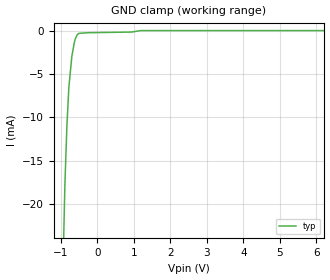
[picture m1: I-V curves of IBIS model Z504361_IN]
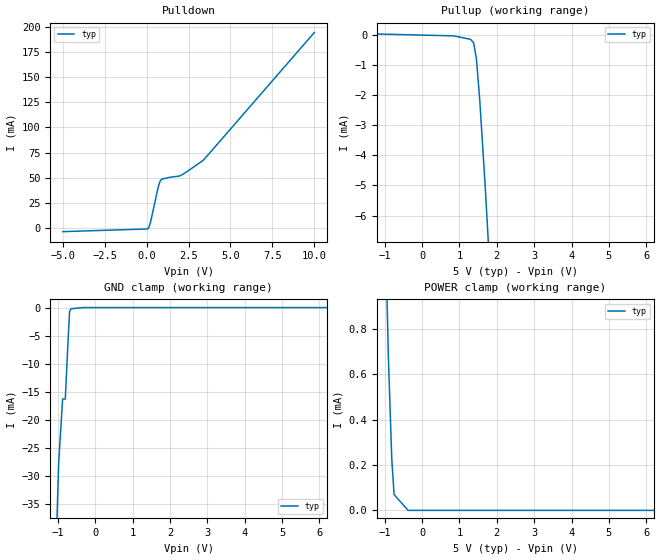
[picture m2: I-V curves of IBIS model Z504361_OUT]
| YOU ARE ONLY AUTHORIZED TO USE THIS SOFTWARE
| ACCORDING TO LICENSOR'S LICENSE RESTRICTIONS.
[IBIS Ver] 3.1
[File Name] sn54ls08j.ibs
[File Rev] 2.0
[Source] Measured and created by ICX Technology
[Date] Friday 7/14/00 9:08:13 AM
[Copyright]
| (C) COPYRIGHT 1993-2000
| MENTOR GRAPHICS CORPORATION
| ICX STANDARD LIBRARY, ICX PROJECT MODELING,
| ICX CUSTOM MODELING, ICX VENDOR MODEL
| ALL RIGHTS RESERVED.
| THE FOLLOWING ARE TRADEMARKS OR SERVICE MARKS OF
| MENTOR GRAPHICS CORPORATION:ICX (R), ICX STANDARD
| LIBRARY(R), ICX PROJECT MODELING(R), ICX CUSTOM
| MODELING(R), qualityIBIS(TM), MODELVIEWER(TM),
| AND MODELEDITOR(TM)
| ALL COPIES OF SOFTWARE, INCLUDING BUT NOT LIMITED TO
| ANY MODIFICATIONS, ENHANCEMENTS OR DERIVATIVE WORKS,
| MUST CONTAIN ALL MENTOR GRAPHICS CORPORATION'S
| NOTICES AND LEGENDS, INCLUDING THOSE EMBEDDED IN
| SOFTWARE AND THOSE AFFIXED TO SOFTWARE MEDIUM
| AND CONTAINER, AS RECEIVED FROM MENTOR GRAPHICS
| CORPORATION.
|  ZAP Model Builder 2.7
[Component] SN54LS08J
[Manufacturer] OnSemiconductor
[Package]
| variable   typ   min   max
R_pkg  .21ohms NA NA
L_pkg  4.543nH NA NA
C_pkg  1.8pF NA NA
[Pin] signal_name  model_name  R_pin  L_pin C_pin
1 A Z504361_IN .22 6.757n 2.434p
2 B Z504361_IN .212 4.757n 1.941p
3 Y Z504361_OUT .204 3.257n 1.448p
4 A Z504361_IN .196 2.257n .955p
5 B Z504361_IN .204 3.257n 1.448p
6 Y Z504361_OUT .212 4.757n 1.941p
7 GND GND .22 6.757n 2.434p
8 Y Z504361_OUT .22 6.757n 2.434p
9 A Z504361_IN .212 4.757n 1.941p
10 B Z504361_IN .204 3.257n 1.448p
11 Y Z504361_OUT .196 2.257n .955p
12 A Z504361_IN .204 3.257n 1.448p
13 B Z504361_IN .212 4.757n 1.941p
14 VCC POWER .22 6.757n 2.434p
| Models and submodels in the file (2): Z504361_IN (Input), Z504361_OUT (Output)
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| (C) COPYRIGHT 1993-2000
| MENTOR GRAPHICS CORPORATION
| ICX STANDARD LIBRARY, ICX PROJECT MODELING,
| ICX CUSTOM MODELING, ICX VENDOR MODEL
| ALL RIGHTS RESERVED.
| THE FOLLOWING ARE TRADEMARKS OR SERVICE MARKS OF
| MENTOR GRAPHICS CORPORATION:ICX (R), ICX STANDARD
| LIBRARY(R), ICX PROJECT MODELING(R), ICX CUSTOM
| MODELING(R), qualityIBIS(TM), MODELVIEWER(TM),
| AND MODELEDITOR(TM)
| ALL COPIES OF SOFTWARE, INCLUDING BUT NOT LIMITED TO
| ANY MODIFICATIONS, ENHANCEMENTS OR DERIVATIVE WORKS,
| MUST CONTAIN ALL MENTOR GRAPHICS CORPORATION'S
| NOTICES AND LEGENDS, INCLUDING THOSE EMBEDDED IN
| SOFTWARE AND THOSE AFFIXED TO SOFTWARE MEDIUM
| AND CONTAINER, AS RECEIVED FROM MENTOR GRAPHICS
| CORPORATION.
| Model Application Version 1.89 2/18/99.
[Model] Z504361_IN
Model_type Input
Vinl = 800.0mV
Vinh = 2.000V
C_comp 4.000pF NA NA
| variable typ   min   max
[Voltage Range] 5.000V NA NA
[GND Clamp Reference] 0.000V NA NA
[POWER Clamp Reference] 5.000V NA NA
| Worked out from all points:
|   GND clamp passes 1 mA (typ) near -0.61 V on its own axis
[GND Clamp]
-5V       -773.6mA   NA         NA
-888.4mV  -17.7mA    NA         NA
-835.2mV  -11.12mA   NA         NA
-781.2mV  -6.602mA   NA         NA
-698.5mV  -2.969mA   NA         NA
-632mV    -1.417mA   NA         NA
-600.4mV  -920.1uA   NA         NA
-546.5mV  -455.4uA   NA         NA
-502.9mV  -322.8uA   NA         NA
946.1mV   -174.5uA   NA         NA
1.187V    -4.766uA   NA         NA
10V       -4.766uA   NA         NA
[POWER Clamp]
-5V       0A         NA         NA
10V       0A         NA         NA
| (C) COPYRIGHT 1993-2000
| MENTOR GRAPHICS CORPORATION
| ICX STANDARD LIBRARY, ICX PROJECT MODELING,
| ICX CUSTOM MODELING, ICX VENDOR MODEL
| ALL RIGHTS RESERVED.
| THE FOLLOWING ARE TRADEMARKS OR SERVICE MARKS OF
| MENTOR GRAPHICS CORPORATION:ICX (R), ICX STANDARD
| LIBRARY(R), ICX PROJECT MODELING(R), ICX CUSTOM
| MODELING(R), qualityIBIS(TM), MODELVIEWER(TM),
| AND MODELEDITOR(TM)
| ALL COPIES OF SOFTWARE, INCLUDING BUT NOT LIMITED TO
| ANY MODIFICATIONS, ENHANCEMENTS OR DERIVATIVE WORKS,
| MUST CONTAIN ALL MENTOR GRAPHICS CORPORATION'S
| NOTICES AND LEGENDS, INCLUDING THOSE EMBEDDED IN
| SOFTWARE AND THOSE AFFIXED TO SOFTWARE MEDIUM
| AND CONTAINER, AS RECEIVED FROM MENTOR GRAPHICS
| CORPORATION.
| Model Application Version 1.89 2/18/99.
[Model] Z504361_OUT
Model_type Output
Vref=5.000V
Rref=2.000kohms
Cref=15.00pF
Vmeas=1.300V
C_comp 8.000pF NA NA
| variable typ   min   max
[Voltage Range] 5.000V NA NA
[POWER Clamp Reference] 5.000V NA NA
[Pullup Reference] 5.000V NA NA
[Pulldown Reference] 0.000V NA NA
[GND Clamp Reference] 0.000V NA NA
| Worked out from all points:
|   slope of the pulldown table from 0 to 0.75 V, typ, clamps not added: 16.7 ohm
|   slope of the pullup table from 0 to 0.75 V, typ, clamps not added: 33.1 kohm
|   GND clamp passes 1 mA (typ) near -0.69 V on its own axis
[GND Clamp]
-5V       -1.145A    NA         NA
-1.122V   -60.26mA   NA         NA
-976.5mV  -27.77mA   NA         NA
-869.8mV  -16.28mA   NA         NA
-798.5mV  -16.28mA   NA         NA
-727.2mV  -6.274mA   NA         NA
-683.6mV  -714.1uA   NA         NA
-644.5mV  -209.7uA   NA         NA
-322.3mV  0A         NA         NA
10V       0A         NA         NA
[Pulldown]
-5V       -3.64mA    NA         NA
68.47mV   -675.2uA   NA         NA
131.6mV   621.6uA    NA         NA
224.6mV   5.333mA    NA         NA
683.4mV   40.29mA    NA         NA
777.9mV   45.58mA    NA         NA
854.5mV   47.84mA    NA         NA
1.034V    49.21mA    NA         NA
2.027V    52.28mA    NA         NA
3.383V    67.41mA    NA         NA
10V       194.5mA    NA         NA
[Pullup]
-5V       139.1uA    NA         NA
844mV     -37.67uA   NA         NA
1.299V    -152.4uA   NA         NA
1.382V    -273.2uA   NA         NA
1.455V    -794.5uA   NA         NA
1.543V    -2.128mA   NA         NA
1.693V    -5.075mA   NA         NA
10V       -189.6mA   NA         NA
[POWER Clamp]
-5V       30.7mA     NA         NA
-902mV    687.7uA    NA         NA
-809mV    226.5uA    NA         NA
-747mV    69.76uA    NA         NA
-373.5mV  0A         NA         NA
10V       0A         NA         NA
[Ramp]
| variable typ min max
dV/dt_r 1.891/6.083n NA NA
dV/dt_f 1.891/1.201n NA NA
R_load = 500.0Ohms
